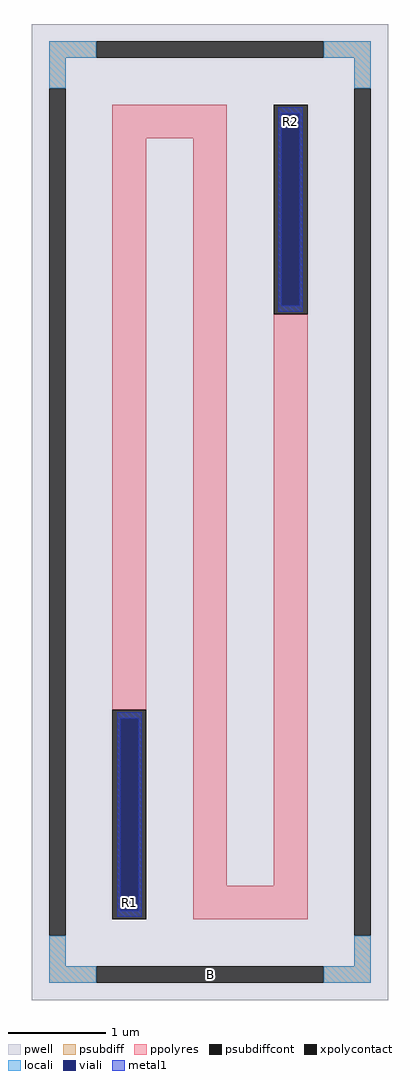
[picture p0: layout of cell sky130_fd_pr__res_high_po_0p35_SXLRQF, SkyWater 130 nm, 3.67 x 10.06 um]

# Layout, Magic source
magic
tech sky130A
magscale 1 2
<< pwell >>
rect -367 -1006 367 1006
<< psubdiff >>
rect -331 936 -235 970
rect 235 936 331 970
rect -331 874 -297 936
rect 297 874 331 936
rect -331 -936 -297 -874
rect 297 -936 331 -874
rect -331 -970 -235 -936
rect 235 -970 331 -936
<< psubdiffcont >>
rect -235 936 235 970
rect -331 -874 -297 874
rect 297 -874 331 874
rect -235 -970 235 -936
<< xpolycontact >>
rect -201 -840 -131 -408
rect 131 408 201 840
<< ppolyres >>
rect -201 770 35 840
rect -201 -408 -131 770
rect -35 -770 35 770
rect 131 -770 201 408
rect -35 -840 201 -770
<< locali >>
rect -331 936 -235 970
rect 235 936 331 970
rect -331 874 -297 936
rect 297 874 331 936
rect -331 -936 -297 -874
rect 297 -936 331 -874
rect -331 -970 -235 -936
rect 235 -970 331 -936
<< viali >>
rect 147 425 185 822
rect -185 -822 -147 -425
<< metal1 >>
rect 141 822 191 834
rect 141 425 147 822
rect 185 425 191 822
rect 141 413 191 425
rect -191 -425 -141 -413
rect -191 -822 -185 -425
rect -147 -822 -141 -425
rect -191 -834 -141 -822
<< labels >>
rlabel psubdiffcont 0 -953 0 -953 0 B
port 1 nsew
rlabel xpolycontact -166 -805 -166 -805 0 R1
port 2 nsew
rlabel xpolycontact 166 805 166 805 0 R2
port 3 nsew
<< properties >>
string FIXED_BBOX -314 -953 314 953
string gencell sky130_fd_pr__res_high_po_0p35
string library sky130
string parameters w 0.35 l 8.4 m 1 nx 3 wmin 0.350 lmin 0.50 class resistor rho 319.8 val 24.778k dummy 0 dw 0.0 term 194.82 sterm 0.0 caplen 0 guard 1 glc 1 grc 1 gtc 1 gbc 1 compatible {sky130_fd_pr__res_high_po_0p35  sky130_fd_pr__res_high_po_0p69 sky130_fd_pr__res_high_po_1p41  sky130_fd_pr__res_high_po_2p85 sky130_fd_pr__res_high_po_5p73} snake 1 full_metal 1 wmax 0.350 vias 1 n_guard 0 hv_guard 0 viagb 0 viagt 0 viagl 0 viagr 0 doports 1
<< end >>
